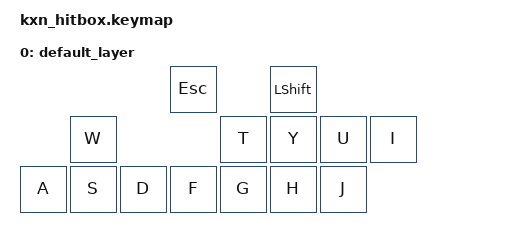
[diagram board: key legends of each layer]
#include <behaviors.dtsi>
#include <dt-bindings/zmk/keys.h>

/ {
    keymap {
        compatible = "zmk,keymap";

        default_layer { // Layer 0
            // ┌───┬───┬───┬───┬───┬───┬───┬───┐  
            // │   │   │   │ESC│   │ALT│   │   │  
            // ├───┼───┼───┼───┼───┼───┼───┼───┤  
            // │   │ W │   │   │ T │ Y │ U │ I │  
            // ├───┼───┼───┼───┼───┼───┼───┼───┤  
            // │ A │ S │ D │ F │ G │ H │ J │   │  
            // └───┴───┴───┴───┴───┴───┴───┴───┘
            bindings = <
                                           &kp ESC           &kp LSHFT
                         &kp W                      &kp T    &kp Y    &kp U    &kp I
                &kp A    &kp S    &kp D    &kp F    &kp G    &kp H    &kp J
            >;
        };
    };
 };
